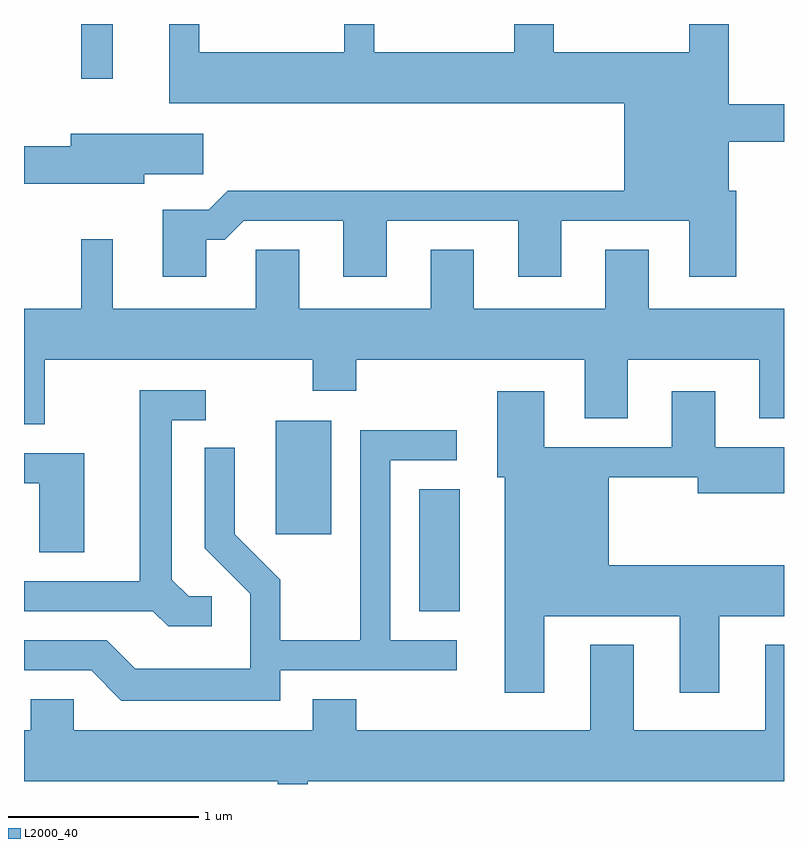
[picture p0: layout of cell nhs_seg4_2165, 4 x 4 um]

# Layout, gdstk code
import gdstk
lib = gdstk.Library(unit=1e-6, precision=1e-09)
def R(c, l, rs):  # rectangles x0, y0, x1, y1
    for r in rs: c.add(gdstk.rectangle(r[:2], r[2:], *l))
def P(c, l, *ps):  # polygons
    for p in ps: c.add(gdstk.Polygon(p, *l))
L2000_40 = (2000, 40)

nhs_seg4_2165 = lib.new_cell('nhs_seg4_2165')
R(nhs_seg4_2165, L2000_40, [(249.691,1368.891,249.904,1369.534), (248.936,1369.296,249.229,1369.894), (247.911,1371.693,248.079,1371.982)])
P(nhs_seg4_2165, L2000_40, [(248.569,1370.846),(248.667,1370.846),(248.767,1370.946),(249.291,1370.946),(249.291,1370.651),(249.519,1370.651),(249.519,1370.946),(250.211,1370.946),(250.211,1370.651),(250.439,1370.651),(250.439,1370.946),(251.111,1370.946),(251.111,1370.651),(251.359,1370.651),(251.359,1371.104),(251.319,1371.104),(251.319,1371.361),(251.611,1371.361),(251.611,1371.559),(251.319,1371.559),(251.319,1371.982),(251.111,1371.982),(251.111,1371.834),(250.399,1371.834),(250.399,1371.982),(250.191,1371.982),(250.191,1371.834),(249.454,1371.834),(249.454,1371.982),(249.296,1371.982),(249.296,1371.834),(248.534,1371.834),(248.534,1371.982),(248.376,1371.982),(248.376,1371.566),(250.771,1371.566),(250.771,1371.104),(248.684,1371.104),(248.584,1371.004),(248.341,1371.004),(248.341,1370.651),(248.569,1370.651)],
  [(248.244,1371.191),(248.554,1371.191),(248.554,1371.404),(247.856,1371.404),(247.856,1371.339),(247.611,1371.339),(247.611,1371.141),(248.244,1371.141)],
  [(247.719,1370.216),(249.131,1370.216),(249.131,1370.051),(249.359,1370.051),(249.359,1370.216),(250.561,1370.216),(250.561,1369.906),(250.789,1369.906),(250.789,1370.216),(251.481,1370.216),(251.481,1369.906),(251.611,1369.906),(251.611,1370.484),(250.899,1370.484),(250.899,1370.794),(250.671,1370.794),(250.671,1370.484),(249.979,1370.484),(249.979,1370.794),(249.751,1370.794),(249.751,1370.484),(249.059,1370.484),(249.059,1370.794),(248.831,1370.794),(248.831,1370.484),(248.079,1370.484),(248.079,1370.848),(247.911,1370.848),(247.911,1370.484),(247.611,1370.484),(247.611,1369.876),(247.719,1369.876)],
  [(248.598,1368.969),(248.477,1368.969),(248.389,1369.057),(248.389,1369.896),(248.568,1369.896),(248.568,1370.054),(248.221,1370.054),(248.221,1369.049),(247.611,1369.049),(247.611,1368.891),(248.289,1368.891),(248.369,1368.811),(248.598,1368.811)],
  [(250.349,1368.866),(251.061,1368.866),(251.061,1368.461),(251.269,1368.461),(251.269,1368.866),(251.611,1368.866),(251.611,1369.134),(250.689,1369.134),(250.689,1369.596),(251.156,1369.596),(251.156,1369.511),(251.611,1369.511),(251.611,1369.754),(251.249,1369.754),(251.249,1370.049),(251.021,1370.049),(251.021,1369.754),(250.349,1369.754),(250.349,1370.049),(250.101,1370.049),(250.101,1369.596),(250.141,1369.596),(250.141,1368.461),(250.349,1368.461)],
  [(248.959,1368.581),(249.888,1368.581),(249.888,1368.739),(249.539,1368.739),(249.539,1369.686),(249.888,1369.686),(249.888,1369.844),(249.381,1369.844),(249.381,1368.739),(248.959,1368.739),(248.959,1369.057),(248.719,1369.297),(248.719,1369.753),(248.561,1369.753),(248.561,1369.224),(248.801,1368.984),(248.801,1368.589),(248.197,1368.589),(248.047,1368.739),(247.611,1368.739),(247.611,1368.581),(247.964,1368.581),(248.124,1368.421),(248.959,1368.421)],
  [(247.929,1369.724),(247.611,1369.724),(247.611,1369.566),(247.691,1369.566),(247.691,1369.201),(247.929,1369.201)],
  [(249.104,1367.996),(251.611,1367.996),(251.611,1368.714),(251.511,1368.714),(251.511,1368.264),(250.819,1368.264),(250.819,1368.714),(250.591,1368.714),(250.591,1368.264),(249.359,1368.264),(249.359,1368.429),(249.131,1368.429),(249.131,1368.264),(247.874,1368.264),(247.874,1368.429),(247.646,1368.429),(247.646,1368.264),(247.611,1368.264),(247.611,1367.996),(248.946,1367.996),(248.946,1367.982),(249.104,1367.982)])

lib.write_gds('nhs_seg4_2165.gds')
